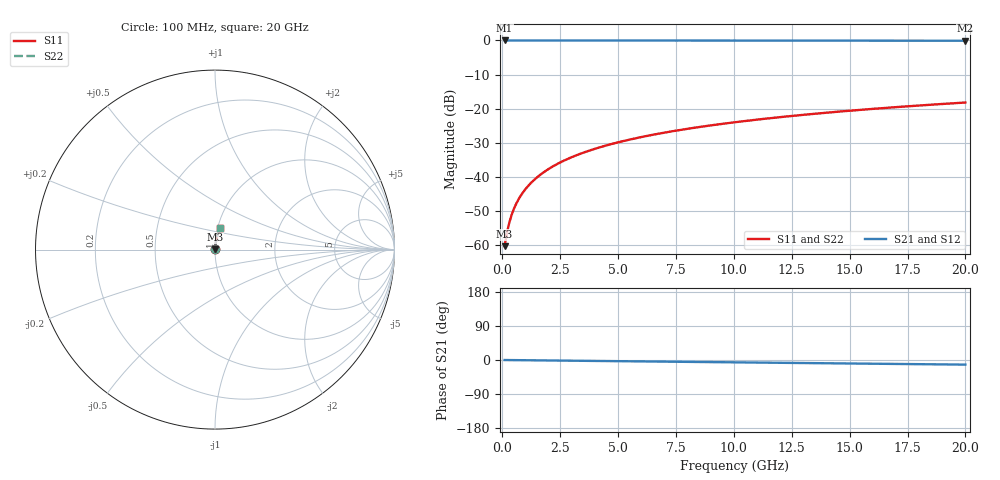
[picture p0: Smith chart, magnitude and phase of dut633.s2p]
! Touchstone file exported from HFSS 2026.1.0
!  File:  C:/ffzhzh/LocalFiles/Ansys_Project_Files/temp_train_TSV_633_1783026248_51716.aedt
!  Generated:  05:06:42 AM Jul  3, 2026
!  Design:  TSV
!  Project:  temp_train_TSV_633_1783026248_51716
! Variables:
!  h_bsmrdl = 2um
!  h_ox = 20um
!  h_rdl = 5um
!  h_sub = 98.6um
!  h_tmrdl = 5um
!  h_tsv = 98.6um
!  h_via = 3um
!  l_bsmrdl = 300um
!  l_sub = 408.24um
!  l_tmrdl = 200um
!  m_sub = 200um
!  pitch = 49.45um
!  r_tsv = 4.12um
!  s_tmrdl = 10um
!  w_bsmrdl = 18um
!  w_sub = 500um
!  w_tmrdl = 12um
!  x_tsv_center1 = 206um
!  x_tsv_center2 = 524um
!  x_tsv_center3 = 736um
!  x_tsv_center4 = 1054um
!  x_tsv_center5 = 1266um
!  x_tsv_center6 = 1584um
# GHz S MA R 50.000000
! Terminal data exported
! Port[1] = TSV1_1_T1
! Port[2] = TSV1_1_T2
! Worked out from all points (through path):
!   200 points, 100 MHz to 20 GHz, reference 50 ohm
!   highest |S21| = -0.01 dB at 100 MHz (marker M1); lowest = -0.1 dB at 20 GHz (marker M2)
!   group delay of S21, straight-line fit = 1.69 ps
!   lowest |S11| = -60.4 dB at 100 MHz (marker M3), VSWR 1.00, Z = 50.1 + j0.0666 ohm
!   |S11| at or under -10 dB: start of sweep to end of sweep
!   |S22| runs from -60.4 to -18.2 dB; largest |S21 - S12| = 4.2e-15
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0.1  0.0009574 44.0  0.9993 -0.1  0.9993 -0.1  0.0009574 44.0
! Gamma 0 0 0 0
! Port Impedance 50 0 50 0
0.2  0.0015 62.2  0.9993 -0.1  0.9993 -0.1  0.0015 62.2
0.3  0.002109 70.1  0.9993 -0.2  0.9993 -0.2  0.002109 70.1
0.4  0.002737 74.4  0.9993 -0.3  0.9993 -0.3  0.002737 74.4
0.5  0.003372 77.1  0.9993 -0.3  0.9993 -0.3  0.003372 77.1
0.6  0.00401 78.9  0.9992 -0.4  0.9992 -0.4  0.00401 78.9
0.8  0.00529 81.1  0.9992 -0.5  0.9992 -0.5  0.00529 81.1
1.1  0.007217 82.9  0.9992 -0.7  0.9992 -0.7  0.007217 82.9
1.3  0.008503 83.6  0.9991 -0.8  0.9991 -0.8  0.008503 83.6
1.5  0.009789 84.1  0.9991 -0.9  0.9991 -0.9  0.009789 84.1
1.8  0.01172 84.5  0.999 -1.1  0.999 -1.1  0.01172 84.5
2.1  0.01364 84.7  0.999 -1.3  0.999 -1.3  0.01364 84.7
2.7  0.01747 84.9  0.9988 -1.7  0.9988 -1.7  0.01747 84.9
3.5  0.02255 84.8  0.9986 -2.2  0.9986 -2.2  0.02255 84.8
4.2  0.02696 84.6  0.9983 -2.6  0.9983 -2.6  0.02696 84.6
5  0.03197 84.3  0.998 -3.1  0.998 -3.1  0.03197 84.3
6.8  0.04313 83.4  0.9973 -4.2  0.9973 -4.2  0.04313 83.4
8.3  0.05236 82.7  0.9967 -5.1  0.9967 -5.1  0.05236 82.7
10.1  0.06337 81.8  0.9958 -6.2  0.9958 -6.2  0.06337 81.8
13.4  0.08341 80.1  0.994 -8.2  0.994 -8.2  0.08341 80.1
16.7  0.1032 78.2  0.9919 -10.2  0.9919 -10.2  0.1032 78.2
20  0.1228 76.4  0.9894 -12.2  0.9894 -12.2  0.1228 76.4
